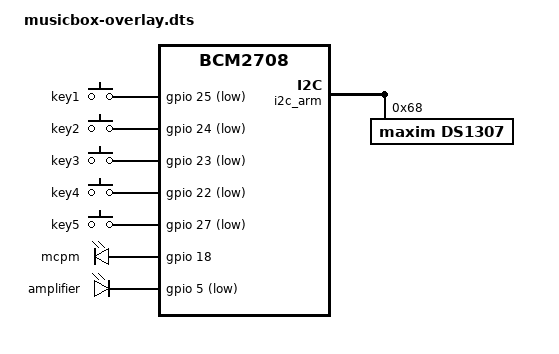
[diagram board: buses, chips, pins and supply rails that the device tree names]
/dts-v1/;
/plugin/;

/ {
	compatible = "brcm,bcm2708";

	fragment@0 {
		target = <&i2c_arm>;
		__overlay__ {
			#address-cells = <1>;
			#size-cells = <0>;
			status = "okay";

			ds1307: ds1307@68 {
				compatible = "maxim,ds1307";
				reg = <0x68>;
				status = "okay";
			};
		};
	};

	fragment@2 {
		target-path = "/";
		__overlay__ {
			capkeys {
				compatible = "gpio-keys";
				#address-cells = <0>;
				#size-cells = <0>;

				/* all gpio's are now active low */
				key1 {
					gpios = <&gpio 25 1>;
					linux,code = <2>; /* "1" */
					wakeup-source;
				};
				key2 {
					gpios = <&gpio 24 1>;
					linux,code = <3>; /* "2" */
				};
				key3 {
					gpios = <&gpio 23 1>;
					linux,code = <4>;
				};
				key4 {
					gpios = <&gpio 22 1>;
					linux,code = <5>;
				};
				key5 {
					gpios = <&gpio 27 1>;
					linux,code = <6>;
				};
			};
			/*
			switches {
				compatible = "gpio-keys";
				#address-cells = <0>;
				#size-cells = <0>;

				sysrq {
					gpios = <&gpio 17 1>;
					linux,code = <99>;
				};
			};
			*/
		};
	};

	fragment@3 {
		target-path = "/";
		__overlay__ {
			mcpmleds {
				/* The Mean Crafty Pi Monster main led */
				compatible = "gpio-leds";

				mcpm {
					label = "mcpm";
					gpios = <&gpio 18 0>;
					linux,default-trigger = "none";
				};
				amplifier {
					label = "amplifier";
					gpios = <&gpio 5 1>;
					linux,default-state = "off";
				};
			};
		};
	};
	

	fragment@4 {
		target = <&gpio>;
		__overlay__ {
			capkeys_pins: capkeys_pins {
				/* set pins as input */
				brcm,pins = <25 24 23 22 27>;
				brcm,function = <0 0 0 0 0>;
			};
			/*
			switches_pins: switches_pins {
				brcm,pins = <17>;
				brcm,function = <0>;
			};
			*/
			mcpmleds_pins: mcmpleds_pins {
				/* set pins as input */
				brcm,pins = <18 5>;
				brcm,function = <1 1>;
			};
		};
	};

	fragment@5 {
		target = <&fb>;
		__overlay__ {
			status = "disabled";
		};
	};

	__overrides__ {
		hdmi = <&fb>,"status";

	};
};
